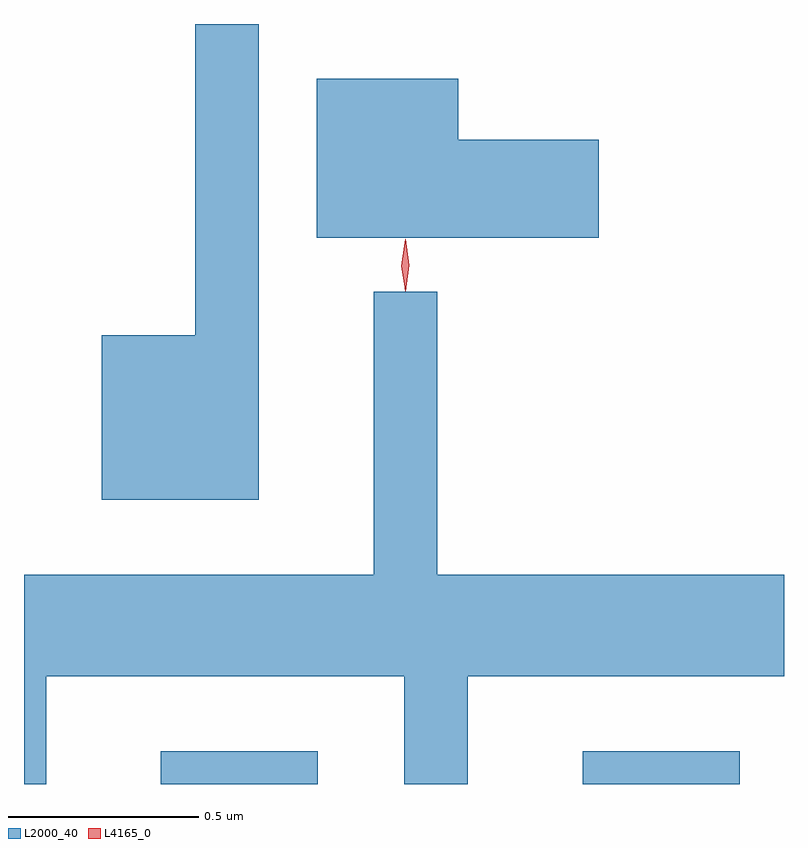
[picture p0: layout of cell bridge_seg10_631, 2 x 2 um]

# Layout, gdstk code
import gdstk
lib = gdstk.Library(unit=1e-6, precision=1e-09)
def R(c, l, rs):  # rectangles x0, y0, x1, y1
    for r in rs: c.add(gdstk.rectangle(r[:2], r[2:], *l))
def P(c, l, *ps):  # polygons
    for p in ps: c.add(gdstk.Polygon(p, *l))
L2000_40 = (2000, 40)
L4165_0 = (4165, 0)

bridge_seg10_631 = lib.new_cell('bridge_seg10_631')
R(bridge_seg10_631, L2000_40, [(751.951,2109.193,752.364,2109.279), (753.061,2109.193,753.474,2109.279)])
P(bridge_seg10_631, L2000_40, [(752.209,2111.193),(752.041,2111.193),(752.041,2110.374),(751.796,2110.374),(751.796,2109.941),(752.209,2109.941)],
  [(753.104,2110.889),(752.734,2110.889),(752.734,2111.049),(752.361,2111.049),(752.361,2110.631),(753.104,2110.631)],
  [(751.649,2109.476),(752.591,2109.476),(752.591,2109.193),(752.759,2109.193),(752.759,2109.476),(753.591,2109.476),(753.591,2109.744),(752.679,2109.744),(752.679,2110.488),(752.511,2110.488),(752.511,2109.744),(751.591,2109.744),(751.591,2109.193),(751.649,2109.193)])
P(bridge_seg10_631, L4165_0, [(752.594,2110.49),(752.585,2110.558),(752.594,2110.626),(752.595,2110.626),(752.595,2110.626),(752.605,2110.558),(752.595,2110.49),(752.595,2110.49)],
  [(752.595,2110.493),(752.594,2110.494),(752.584,2110.556),(752.593,2110.619),(752.594,2110.62),(752.594,2110.619),(752.604,2110.556),(752.595,2110.494)])

lib.write_gds('bridge_seg10_631.gds')
